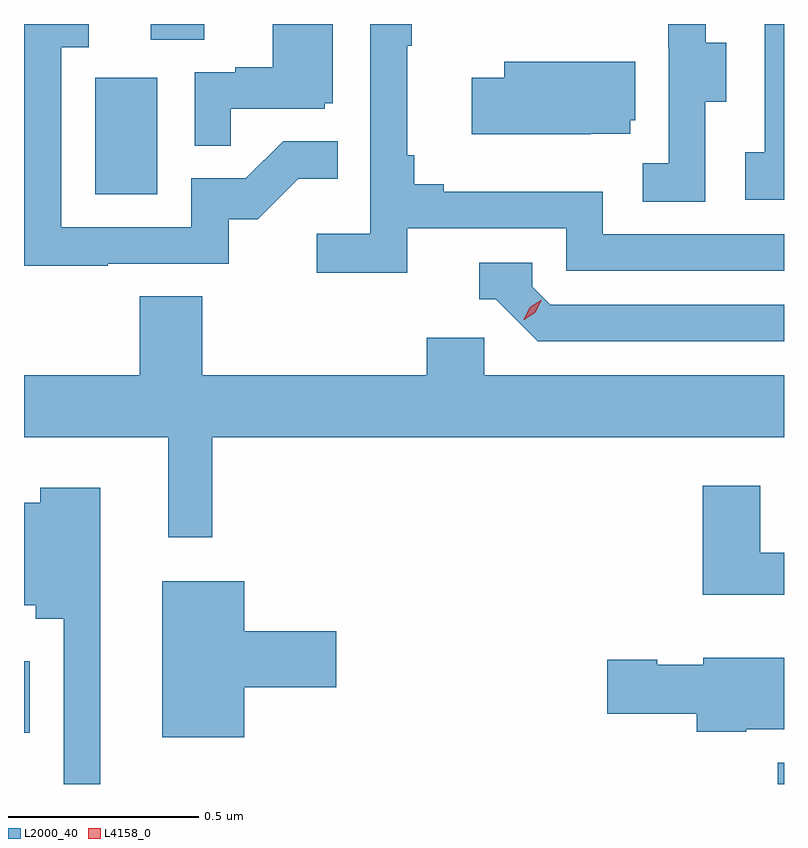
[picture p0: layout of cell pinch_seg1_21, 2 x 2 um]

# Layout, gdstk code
import gdstk
lib = gdstk.Library(unit=1e-6, precision=1e-09)
def R(c, l, rs):  # rectangles x0, y0, x1, y1
    for r in rs: c.add(gdstk.rectangle(r[:2], r[2:], *l))
def P(c, l, *ps):  # polygons
    for p in ps: c.add(gdstk.Polygon(p, *l))
L2000_40 = (2000, 40)
L4158_0 = (4158, 0)

pinch_seg1_21 = lib.new_cell('pinch_seg1_21')
R(pinch_seg1_21, L2000_40, [(1131.928,572.132,1131.945,572.188), (1129.945,572.267,1129.96,572.455), (1130.132,573.684,1130.296,573.991), (1130.279,574.09,1130.419,574.132)])
P(pinch_seg1_21, L2000_40, [(1130.489,573.909),(1130.736,573.909),(1130.736,573.924),(1130.758,573.924),(1130.758,574.132),(1130.6,574.132),(1130.6,574.018),(1130.501,574.018),(1130.501,574.005),(1130.394,574.005),(1130.394,573.811),(1130.489,573.811)],
  [(1130.165,573.501),(1130.484,573.501),(1130.484,573.618),(1130.56,573.618),(1130.667,573.725),(1130.771,573.725),(1130.771,573.824),(1130.627,573.824),(1130.529,573.726),(1130.385,573.726),(1130.385,573.597),(1130.043,573.597),(1130.043,574.071),(1130.116,574.071),(1130.116,574.132),(1129.945,574.132),(1129.945,573.496),(1130.165,573.496)],
  [(1131.738,573.928),(1131.793,573.928),(1131.793,574.083),(1131.739,574.083),(1131.739,574.132),(1131.641,574.132),(1131.641,574.071),(1131.642,574.071),(1131.642,573.765),(1131.573,573.765),(1131.573,573.664),(1131.738,573.664)],
  [(1131.945,574.132),(1131.894,574.132),(1131.894,573.794),(1131.843,573.794),(1131.843,573.669),(1131.945,573.669)],
  [(1130.954,573.594),(1131.372,573.594),(1131.372,573.483),(1131.945,573.483),(1131.945,573.579),(1131.468,573.579),(1131.468,573.691),(1131.049,573.691),(1131.049,573.71),(1130.972,573.71),(1130.972,573.787),(1130.953,573.787),(1130.953,574.075),(1130.965,574.075),(1130.965,574.132),(1130.856,574.132),(1130.856,573.58),(1130.715,573.58),(1130.715,573.478),(1130.954,573.478)],
  [(1131.437,573.843),(1131.541,573.843),(1131.541,573.879),(1131.553,573.879),(1131.553,574.033),(1131.209,574.033),(1131.209,573.99),(1131.123,573.99),(1131.123,573.842),(1131.437,573.842)],
  [(1131.945,573.393),(1131.33,573.393),(1131.282,573.441),(1131.282,573.504),(1131.143,573.504),(1131.143,573.408),(1131.186,573.408),(1131.297,573.297),(1131.945,573.297)],
  [(1130.441,573.044),(1131.945,573.044),(1131.945,573.208),(1131.156,573.208),(1131.156,573.306),(1131.005,573.306),(1131.005,573.208),(1130.414,573.208),(1130.414,573.416),(1130.249,573.416),(1130.249,573.208),(1129.945,573.208),(1129.945,573.044),(1130.324,573.044),(1130.324,572.781),(1130.441,572.781)],
  [(1131.945,572.74),(1131.883,572.74),(1131.883,572.917),(1131.731,572.917),(1131.731,572.63),(1131.945,572.63)],
  [(1130.146,572.911),(1129.988,572.911),(1129.988,572.872),(1129.945,572.872),(1129.945,572.603),(1129.976,572.603),(1129.976,572.567),(1130.049,572.567),(1130.049,572.132),(1130.146,572.132)],
  [(1130.524,572.387),(1130.767,572.387),(1130.767,572.534),(1130.524,572.534),(1130.524,572.665),(1130.309,572.665),(1130.309,572.255),(1130.524,572.255)],
  [(1131.846,572.276),(1131.945,572.276),(1131.945,572.464),(1131.732,572.464),(1131.732,572.446),(1131.612,572.446),(1131.612,572.459),(1131.48,572.459),(1131.48,572.317),(1131.716,572.317),(1131.716,572.27),(1131.846,572.27)])
P(pinch_seg1_21, L4158_0, [(1131.26,573.354),(1131.26,573.354),(1131.276,573.386),(1131.307,573.406),(1131.307,573.406),(1131.307,573.406),(1131.291,573.373),(1131.261,573.354)])

lib.write_gds('pinch_seg1_21.gds')
